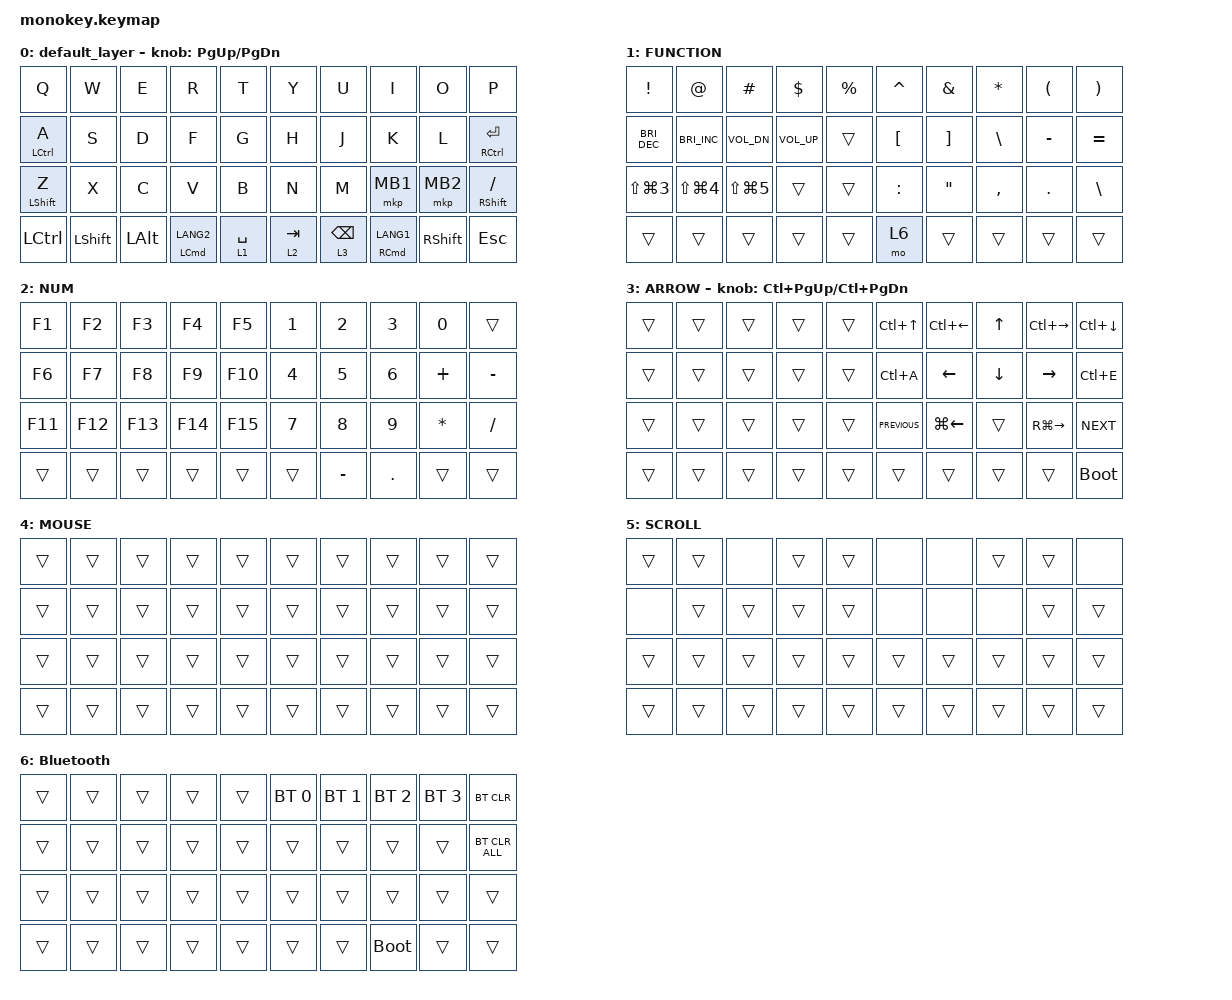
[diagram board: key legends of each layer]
#include <behaviors.dtsi>
#include <dt-bindings/zmk/bt.h>
#include <dt-bindings/zmk/keys.h>
#include <dt-bindings/zmk/pointing.h>

#define MOUSE 4
#define SCROLL 5
#define NUM 6

&mt {
    flavor = "balanced";
    quick-tap-ms = <300>;
};

&lt { quick-tap-ms = <300>; };

/ {
    combos {
        compatible = "zmk,combos";

        scroll {
            bindings = <&mo 5>;
            key-positions = <27 28>;
        };
    };

    behaviors {
        right_click: right_click_behavior {
            compatible = "zmk,behavior-mouse-key";
            label = "RIGHT_CLICK";
            #binding-cells = <0>;

            // 右クリックは通常 MB2 に対応（ZMKの標準定義）

            bindings = <&mkp MB2>;
        };
    };

    keymap {
        compatible = "zmk,keymap";

        default_layer {
            bindings = <
&kp Q             &kp W           &kp E         &kp R                   &kp T                     &kp Y            &kp U                    &kp I     &kp O            &kp P
&mt LCTRL A       &kp S           &kp D         &kp F                   &kp G                     &kp H            &kp J                    &kp K     &kp L            &mt RCTRL ENTER
&mt LEFT_SHIFT Z  &kp X           &kp C         &kp V                   &kp B                     &kp N            &kp M                    &mkp MB1  &mkp MB2         &mt RIGHT_SHIFT SLASH
&kp LCTRL         &kp LEFT_SHIFT  &kp LEFT_ALT  &mt LEFT_COMMAND LANG2  &lt 1 SPACE  &lt 2 TAB    &lt 3 BACKSPACE  &mt RIGHT_COMMAND LANG1            &kp RIGHT_SHIFT  &kp ESCAPE
            >;

            sensor-bindings = <&inc_dec_kp PG_UP PAGE_DOWN>;
        };

        FUNCTION {
            bindings = <
&kp EXCLAMATION       &kp AT_SIGN           &kp HASH        &kp DOLLAR       &kp PERCENT           &kp CARET         &kp AMPERSAND      &kp ASTERISK   &kp LEFT_PARENTHESIS  &kp RIGHT_PARENTHESIS
&kp C_BRIGHTNESS_DEC  &kp C_BRIGHTNESS_INC  &kp C_VOL_DN    &kp C_VOLUME_UP  &trans                &kp LEFT_BRACKET  &kp RIGHT_BRACKET  &kp BACKSLASH  &kp MINUS             &kp EQUAL
&kp LS(LG(NUMBER_3))  &kp LS(LG(NUMBER_4))  &kp LS(LG(N5))  &trans           &trans                &kp COLON         &kp DOUBLE_QUOTES  &kp COMMA      &kp PERIOD            &kp BACKSLASH
&trans                &trans                &trans          &trans           &trans       &mo 6    &trans            &trans                            &trans                &trans
            >;
        };

        NUM {
            bindings = <
&kp F1   &kp F2   &kp F3   &kp F4   &kp F5             &kp NUMBER_1  &kp NUMBER_2  &kp NUMBER_3  &kp N0        &trans
&kp F6   &kp F7   &kp F8   &kp F9   &kp F10            &kp NUMBER_4  &kp N5        &kp NUMBER_6  &kp PLUS      &kp MINUS
&kp F11  &kp F12  &kp F13  &kp F14  &kp F15            &kp N7        &kp N8        &kp N9        &kp ASTERISK  &kp SLASH
&trans   &trans   &trans   &trans   &trans   &trans    &kp MINUS     &kp PERIOD                  &trans        &trans
            >;
        };

        ARROW {
            bindings = <
&trans  &trans  &trans  &trans  &trans            &kp LC(UP_ARROW)  &kp LC(LEFT_ARROW)  &kp UP_ARROW    &kp LC(RIGHT)    &kp LC(DOWN_ARROW)
&trans  &trans  &trans  &trans  &trans            &kp LC(A)         &kp LEFT_ARROW      &kp DOWN_ARROW  &kp RIGHT_ARROW  &kp LC(E)
&trans  &trans  &trans  &trans  &trans            &kp C_PREVIOUS    &kp LG(LEFT)        &trans          &kp RG(RIGHT)    &kp C_NEXT
&trans  &trans  &trans  &trans  &trans  &trans    &trans            &trans                              &trans           &bootloader
            >;

            sensor-bindings = <&inc_dec_kp LC(PAGE_UP) LC(PAGE_DOWN)>;
        };

        MOUSE {
            bindings = <
&trans  &trans  &trans  &trans  &trans            &trans  &trans  &trans  &trans  &trans
&trans  &trans  &trans  &trans  &trans            &trans  &trans  &trans  &trans  &trans
&trans  &trans  &trans  &trans  &trans            &trans  &trans  &trans  &trans  &trans
&trans  &trans  &trans  &trans  &trans  &trans    &trans  &trans          &trans  &trans
            >;
        };

        SCROLL {
            bindings = <
&trans  &trans  &none   &trans  &trans            &none   &none   &trans  &trans  &none
&none   &trans  &trans  &trans  &trans            &none   &none   &none   &trans  &trans
&trans  &trans  &trans  &trans  &trans            &trans  &trans  &trans  &trans  &trans
&trans  &trans  &trans  &trans  &trans  &trans    &trans  &trans          &trans  &trans
            >;
        };

        Bluetooth {
            bindings = <
&trans  &trans  &trans  &trans  &trans            &bt BT_SEL 0  &bt BT_SEL 1  &bt BT_SEL 2  &bt BT_SEL 3  &bt BT_CLR
&trans  &trans  &trans  &trans  &trans            &trans        &trans        &trans        &trans        &bt BT_CLR_ALL
&trans  &trans  &trans  &trans  &trans            &trans        &trans        &trans        &trans        &trans
&trans  &trans  &trans  &trans  &trans  &trans    &trans        &bootloader                 &trans        &trans
            >;
        };
    };
};
